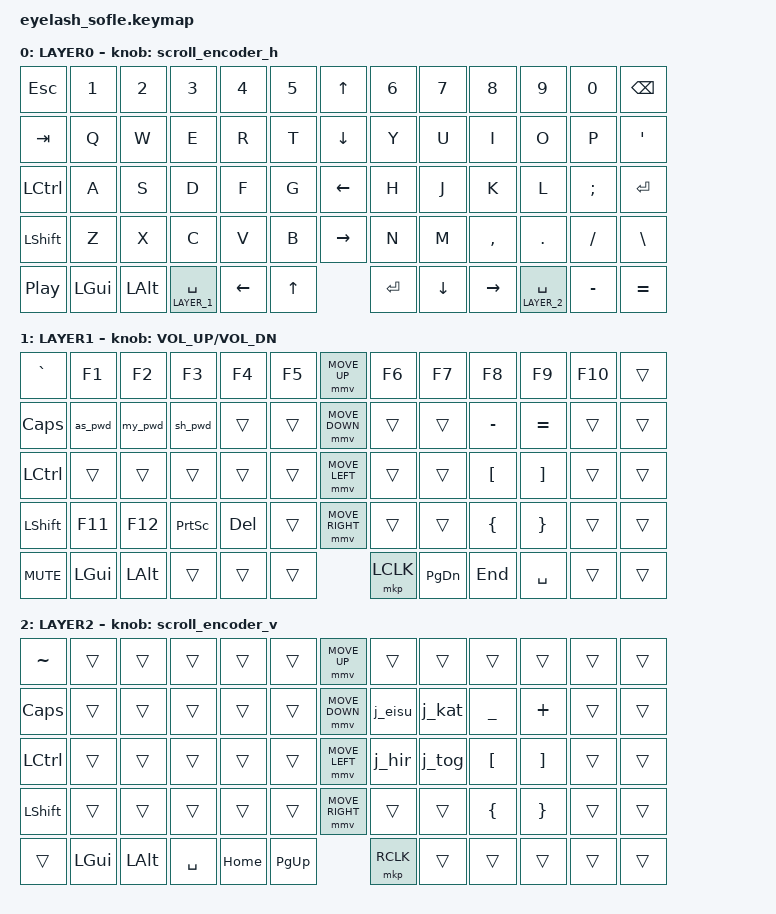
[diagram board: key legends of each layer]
#include <behaviors.dtsi>
#include <dt-bindings/zmk/bt.h>
#include <dt-bindings/zmk/keys.h>
#include <dt-bindings/zmk/mouse.h>
#include <dt-bindings/zmk/outputs.h>
#include <dt-bindings/zmk/rgb.h>

#include <input/processors.dtsi>

/*

   &mmv_input_listener {
       input-processors = <&zip_xy_scaler 2 1>;
   };

   &msc_input_listener {
       input-processors = <&zip_xy_scaler 2 1>;
   };

 */

#define ZMK_MOUSE_DEFAULT_MOVE_VAL 1200  // 600
#define ZMK_MOUSE_DEFAULT_SCRL_VAL 20    // 10

#define DEFAULT 0
#define LAYER_1 1
#define LAYER_2 2

/ {
    macros {
        as_pwd: as_pwd {
            compatible = "zmk,behavior-macro";
            #binding-cells = <0>;
            bindings
                = <&macro_press &kp LSHFT>
                , <&macro_tap &kp P &kp N2 &kp N4 &kp N4>
                , <&macro_release &kp LSHFT>
                , <&macro_tap &kp W &kp N0 &kp R &kp D>
                , <&macro_press &kp LSHFT>
                , <&macro_tap &kp N2 &kp N0 &kp N2 &kp N4 &kp N1 &kp N2 &kp N0 &kp N9>
                , <&macro_release &kp LSHFT>
                ;
        };
        my_pwd: my_pwd {
            compatible = "zmk,behavior-macro";
            #binding-cells = <0>;
            bindings
                = <&macro_press &kp LSHFT>
                , <&macro_tap &kp P &kp N2 &kp N4 &kp N4>
                , <&macro_release &kp LSHFT>
                , <&macro_tap &kp W &kp N0 &kp R &kp D &kp N3 &kp N1 &kp N4 &kp N1>
                ;
        };
        sh_pwd: sh_pwd {
            compatible = "zmk,behavior-macro";
            #binding-cells = <0>;
            bindings
                = <&macro_press &kp LSHFT>
                , <&macro_tap &kp P &kp N2 &kp N4 &kp N4>
                , <&macro_release &kp LSHFT>
                ;
        };
        j_tog: j_ime_toggle {
            compatible = "zmk,behavior-macro";
            #binding-cells = <0>;
            bindings
                = <&macro_press &kp LALT>
                , <&macro_tap &kp GRAVE>
                , <&macro_release &kp LALT>
                ;
        };
        j_hir: j_ime_hiragana {
            compatible = "zmk,behavior-macro";
            #binding-cells = <0>;
            bindings
                = <&macro_press &kp LCTRL>
                , <&macro_tap &kp CAPS>
                , <&macro_release &kp LCTRL>
                ;
        };
        j_kat: j_ime_katakana {
            compatible = "zmk,behavior-macro";
            #binding-cells = <0>;
            bindings
                = <&macro_press &kp LALT>
                , <&macro_tap &kp CAPS>
                , <&macro_release &kp LALT>
                ;
        };
        j_eisu: j_ime_eisu {
            compatible = "zmk,behavior-macro";
            #binding-cells = <0>;
            bindings
                = <&macro_press &kp LSHIFT>
                , <&macro_tap &kp CAPS>
                , <&macro_release &kp LSHIFT>
                ;
        };
    };
};

/ {
    behaviors {
        mmv {
            acceleration-exponent = <1>;      // 1
            time-to-max-speed-ms = <900>;    // 40
            delay-ms = <0>;                   // 0
        };

        msc {
            acceleration-exponent = <1>;      // 0
            time-to-max-speed-ms = <400>;      // 500
            delay-ms = <0>;                   //   10
        };
         lt_qt: lt_qt  {
            compatible = "zmk,behavior-hold-tap";
            #binding-cells = <2>;
            flavor = "balanced";
            tapping-term-ms = <200>;
            quick-tap-ms = <200>;
            bindings = <&mo>, <&kp>;
        };
    };

    scroll_encoder_v: scroll_encoder_v {
        compatible = "zmk,behavior-sensor-rotate";
        #sensor-binding-cells = <0>;
        bindings = <&msc SCRL_DOWN>, <&msc SCRL_UP>;

        tap-ms = <30>;
    };

    scroll_encoder_h: scroll_encoder_h {
        compatible = "zmk,behavior-sensor-rotate";
        #sensor-binding-cells = <0>;
        bindings = <&msc SCRL_RIGHT>, <&msc SCRL_LEFT>;

        tap-ms = <30>;
    };

    keymap {
        compatible = "zmk,keymap";

        layer0 {
            bindings = <
            &kp ESC    &kp N1     &kp N2     &kp N3     &kp N4     &kp N5      &kp UP_ARROW        &kp N6     &kp N7           &kp N8     &kp N9     &kp N0     &kp BSPC
            &kp TAB    &kp Q      &kp W      &kp E      &kp R      &kp T       &kp DOWN_ARROW      &kp Y      &kp U            &kp I      &kp O      &kp P      &kp APOS
            &kp LCTRL  &kp A      &kp S      &kp D      &kp F      &kp G       &kp LEFT_ARROW      &kp H      &kp J            &kp K      &kp L      &kp SEMI   &kp ENTER
            &kp LSHIFT &kp Z      &kp X      &kp C      &kp V      &kp B       &kp RIGHT_ARROW     &kp N      &kp M            &kp COMMA  &kp DOT    &kp SLASH  &kp BSLH
            &kp C_PP   &kp LGUI   &kp LALT   &lt_qt LAYER_1 SPACE  &kp LEFT  &kp UP  &kp ENTER  &kp DOWN  &kp RIGHT  &lt_qt LAYER_2 SPACE  &kp MINUS  &kp EQUAL
            >;

            sensor-bindings = <&scroll_encoder_h>;
            display-name = "LAYER0";
        };

        layer_1 {
            bindings = <
            &kp GRAVE  &kp F1     &kp F2     &kp F3     &kp F4     &kp F5        &mmv MOVE_UP     &kp F6     &kp F7     &kp F8     &kp F9     &kp F10    &trans
            &kp CAPS   &as_pwd    &my_pwd    &sh_pwd    &trans     &trans        &mmv MOVE_DOWN   &trans     &trans     &kp MINUS  &kp EQUAL  &trans     &trans
            &kp LCTRL  &trans     &trans     &trans     &trans     &trans        &mmv MOVE_LEFT   &trans     &trans     &kp LBKT   &kp RBKT   &trans     &trans
            &kp LSHIFT &kp F11    &kp F12    &kp PSCRN  &kp DEL    &trans        &mmv MOVE_RIGHT  &trans     &trans     &kp LBRC   &kp RBRC   &trans     &trans
            &kp C_MUTE &kp LGUI   &kp LALT   &trans     &trans     &trans        &mkp LCLK        &kp PG_DN  &kp END    &kp SPACE  &trans     &trans
            >;

            sensor-bindings = <&inc_dec_kp C_VOLUME_UP C_VOL_DN>;
            display-name = "LAYER1";
        };

        layer_2 {
            bindings = <
            &kp TILDE  &trans     &trans     &trans     &trans     &trans        &mmv MOVE_UP     &trans     &trans     &trans     &trans     &trans     &trans
            &kp CAPS   &trans     &trans     &trans     &trans     &trans        &mmv MOVE_DOWN   &j_eisu    &j_kat     &kp UNDER  &kp PLUS   &trans     &trans
            &kp LCTRL  &trans     &trans     &trans     &trans     &trans        &mmv MOVE_LEFT   &j_hir     &j_tog     &kp LBKT   &kp RBKT   &trans     &trans
            &kp LSHIFT &trans     &trans     &trans     &trans     &trans        &mmv MOVE_RIGHT  &trans     &trans     &kp LBRC   &kp RBRC   &trans     &trans
            &trans     &kp LGUI   &kp LALT   &kp SPACE  &kp HOME   &kp PG_UP     &mkp RCLK        &trans     &trans     &trans     &trans     &trans    
            >;

            sensor-bindings = <&scroll_encoder_v>;
            display-name = "LAYER2";
        };
    };
};
